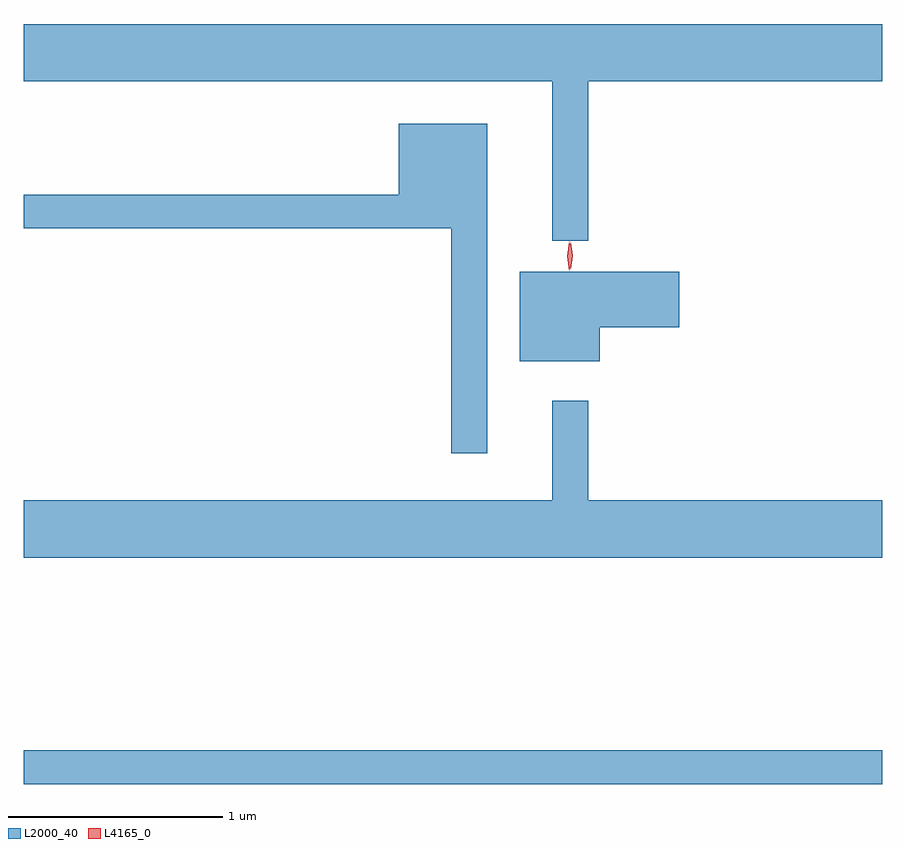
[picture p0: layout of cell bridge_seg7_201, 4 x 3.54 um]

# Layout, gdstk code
import gdstk
lib = gdstk.Library(unit=1e-6, precision=1e-09)
def R(c, l, rs):  # rectangles x0, y0, x1, y1
    for r in rs: c.add(gdstk.rectangle(r[:2], r[2:], *l))
def P(c, l, *ps):  # polygons
    for p in ps: c.add(gdstk.Polygon(p, *l))
L2000_40 = (2000, 40)
L4165_0 = (4165, 0)

bridge_seg7_201 = lib.new_cell('bridge_seg7_201')
R(bridge_seg7_201, L2000_40, [(1527.789,1715.481,1531.789,1715.639)])
P(bridge_seg7_201, L2000_40, [(1530.419,1718.756),(1531.789,1718.756),(1531.789,1719.024),(1527.789,1719.024),(1527.789,1718.756),(1530.251,1718.756),(1530.251,1718.013),(1530.419,1718.013)],
  [(1529.949,1718.559),(1529.536,1718.559),(1529.536,1718.229),(1527.789,1718.229),(1527.789,1718.071),(1529.781,1718.071),(1529.781,1717.023),(1529.949,1717.023)],
  [(1530.474,1717.611),(1530.844,1717.611),(1530.844,1717.869),(1530.101,1717.869),(1530.101,1717.451),(1530.474,1717.451)],
  [(1531.789,1716.804),(1530.419,1716.804),(1530.419,1717.268),(1530.251,1717.268),(1530.251,1716.804),(1527.789,1716.804),(1527.789,1716.536),(1531.789,1716.536)])
P(bridge_seg7_201, L4165_0, [(1530.33,1717.874),(1530.33,1717.874),(1530.321,1717.942),(1530.331,1718.01),(1530.332,1718.01),(1530.332,1718.01),(1530.341,1717.942),(1530.331,1717.874)],
  [(1530.337,1717.88),(1530.337,1717.88),(1530.327,1717.944),(1530.337,1718.006),(1530.337,1718.007),(1530.338,1718.006),(1530.347,1717.944),(1530.338,1717.88)])

lib.write_gds('bridge_seg7_201.gds')
